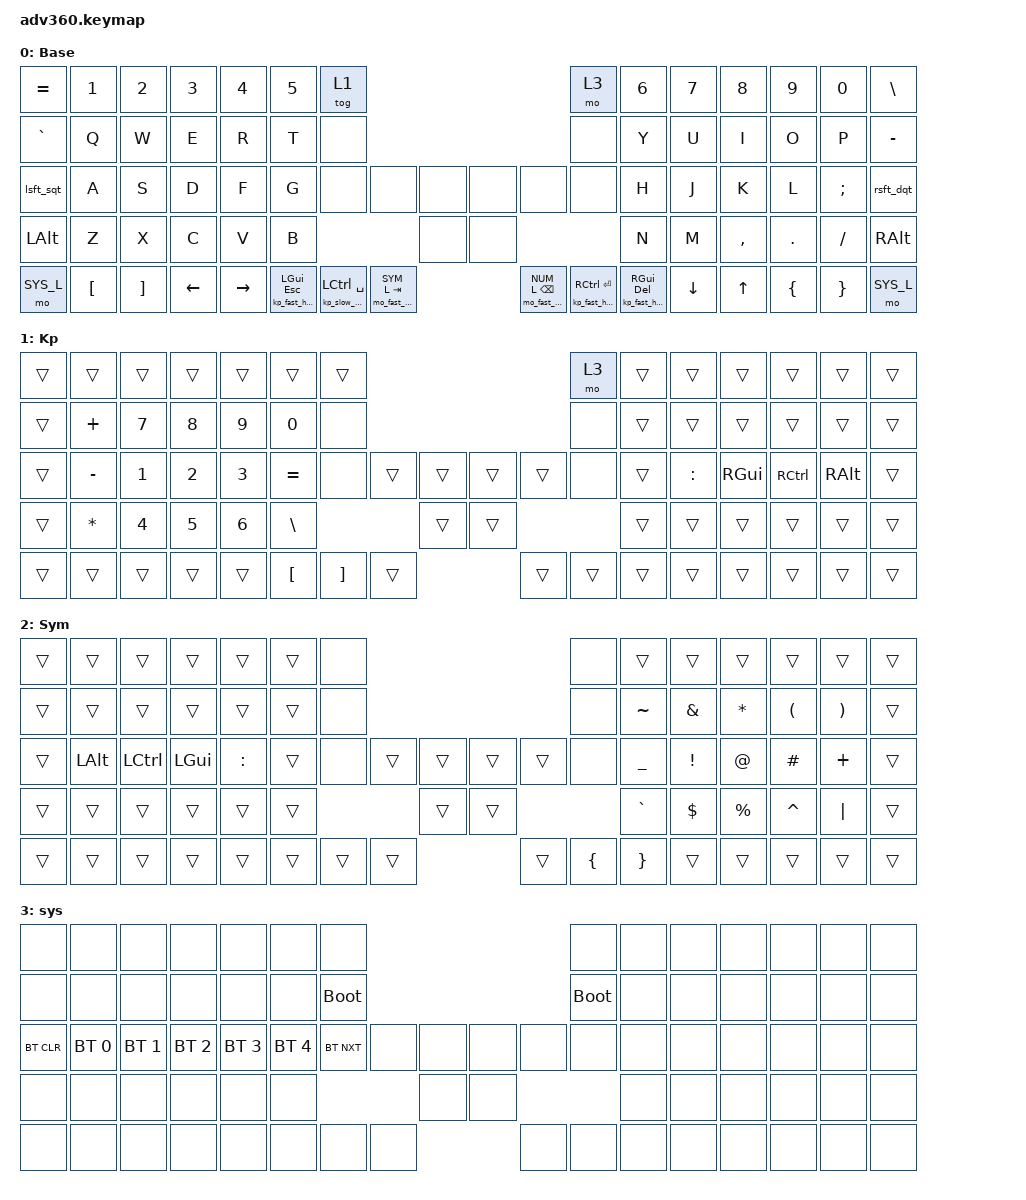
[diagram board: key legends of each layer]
#include <behaviors.dtsi>
#include <dt-bindings/zmk/keys.h>
#include <dt-bindings/zmk/bt.h>
#include <dt-bindings/zmk/rgb.h>
#include <dt-bindings/zmk/stp.h>
#include <dt-bindings/zmk/backlight.h>
#include <dt-bindings/zmk/pointing.h>

#define QWERTY_L     0
#define NUM_L        1
#define SYM_L        2
#define SYS_L        3
#define EMP_L        4

#define LGUI_ESC    &kp_fast_hold LGUI  ESC
#define LCTRL_SPACE &kp_slow_hold LCTRL SPACE
#define SYM_TAB     &mo_fast_hold SYM_L TAB
#define NUM_BSPC    &mo_fast_hold NUM_L BSPC
#define RCTRL_ENTER &kp_fast_hold RCTRL ENTER
#define RGUI_DEL    &kp_fast_hold RGUI  DELETE

/ {
    behaviors {
      #include "macros.dtsi"
      #include "tomzbench.dtsi"
      #include "version.dtsi"

      hm: homerow_mods {
          compatible = "zmk,behavior-hold-tap";
          label = "HOMEROW_MODS";
          #binding-cells = <2>;
          tapping-term-ms = <200>;
          quick_tap_ms = <175>;
          flavor = "tap-preferred";
          bindings = <&kp>, <&kp>;
      };
    };

  keymap {
    compatible = "zmk,keymap";

    default_layer {
      display-name = "Base";
      bindings = <
        &kp EQUAL &kp N1    &kp N2   &kp N3   &kp N4     &kp N5 &tog 1                                                                &mo 3 &kp N6 &kp N7   &kp N8    &kp N9   &kp N0   &kp BSLH
        &kp GRAVE &kp Q     &kp W    &kp E    &kp R      &kp T  &none                                                                 &none &kp Y  &kp U    &kp I     &kp O    &kp P    &kp MINUS
        &lsft_sqt &kp A     &kp S    &kp D    &kp F      &kp G  &none           &none       &none       &none     &none               &none &kp H  &kp J    &kp K     &kp L    &kp SEMI &rsft_dqt
        &kp LALT  &kp Z     &kp X    &kp C    &kp V      &kp B                              &none       &none                               &kp N  &kp M    &kp COMMA &kp DOT  &kp FSLH &kp RALT
        &mo SYS_L &kp LBKT  &kp RBKT &kp LEFT &kp RIGHT                LGUI_ESC LCTRL_SPACE SYM_TAB     NUM_BSPC  RCTRL_ENTER RGUI_DEL             &kp DOWN &kp UP    &kp LBRC &kp RBRC &mo SYS_L
      >;
    };
    keypad {
      display-name = "Kp";
      bindings = <
        &trans    &trans    &trans   &trans   &trans     &trans    &trans                                                      &mo 3 &trans &trans    &trans   &trans    &trans   &trans
        &trans    &kp PLUS  &kp N7   &kp N8   &kp N9     &kp N0    &none                                                       &none &trans &trans    &trans   &trans    &trans   &trans
        &trans    &kp MINUS &kp N1   &kp N2   &kp N3     &kp EQUAL &none           &trans    &trans   &trans  &trans           &none &trans &kp COLON &kp RGUI &kp RCTRL &kp RALT &trans
        &trans    &kp ASTRK &kp N4   &kp N5   &kp N6     &kp BSLH                            &trans   &trans                         &trans &trans    &trans   &trans    &trans   &trans
        &trans    &trans    &trans   &trans   &trans                      &kp LBKT &kp RBKT  &trans   &trans  &trans &trans                 &trans    &trans   &trans    &trans   &trans
      >;
    };
    sym {
      display-name = "Sym";
      bindings = <
        &trans &trans   &trans    &trans   &trans    &trans  &none                                           &none &trans    &trans     &trans      &trans    &trans   &trans 
        &trans &trans   &trans    &trans   &trans    &trans  &none                                           &none &kp TILDE &kp AMPS   &kp ASTRK   &kp LPAR  &kp RPAR &trans
        &trans &kp LALT &kp LCTRL &kp LGUI &kp COLON &trans  &none        &trans &trans &trans &trans        &none &kp UNDER &kp EXCL   &kp AT      &kp POUND &kp PLUS &trans
        &trans &trans   &trans    &trans   &trans    &trans                      &trans &trans                     &kp GRAVE &kp DOLLAR &kp PERCENT &kp CARET &kp PIPE &trans
        &trans &trans   &trans    &trans   &trans                  &trans &trans &trans &trans &kp LBRC &kp RBRC             &trans     &trans      &trans    &trans   &trans
      >;
    };
    sys {
      bindings = <
        &none         &none         &none        &none         &none         &none         &none                                           &none       &none     &none      &none       &none     &none    &none  
        &none         &none         &none        &none         &none         &none         &bootloader                                     &bootloader &none     &none      &none       &none     &none    &none 
        &bt BT_CLR    &bt BT_SEL 0  &bt BT_SEL 1 &bt BT_SEL 2  &bt BT_SEL 3  &bt BT_SEL 4  &bt BT_NXT          &none  &none  &none  &none  &none       &none     &none      &none       &none     &none    &none 
        &none         &none         &none        &none         &none         &none                             &none  &none                            &none     &none      &none       &none     &none    &none 
        &none         &none         &none        &none         &none                             &none  &none  &none  &none  &none    &none                      &none      &none       &none     &none    &none 
      >;
	};

    extra1 { 
      display-name = "Red";    
      status = "reserved";
    };

    extra2 { 
      display-name = "Purple";    
      status = "reserved";
    };

    extra3 { 
      display-name = "Cyan";    
      status = "reserved";
    };

    extra4 { 
      display-name = "Yellow";    
      status = "reserved";
    };
  };
};
